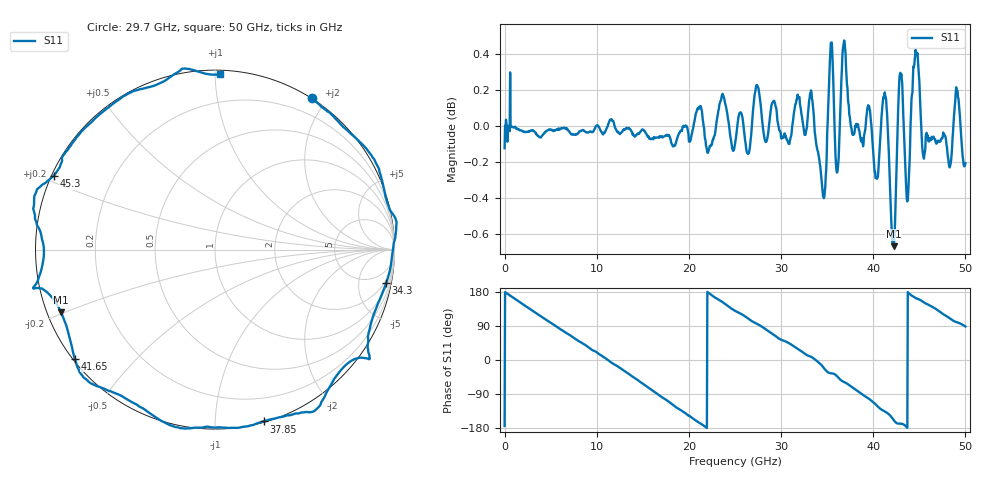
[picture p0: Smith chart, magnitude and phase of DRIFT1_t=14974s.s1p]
!Created with skrf (http://scikit-rf.org).
# Hz S RI R 50.0
!freq ReS11 ImS11
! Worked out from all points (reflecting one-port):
!   1001 points, 300 kHz to 50 GHz, reference 50 ohm
!   lowest |S11| = -0.7 dB at 42.2 GHz (marker M1), VSWR 26.12, Z = 1.99 - j9.77 ohm
!   phase of S11 starts at -174 deg and turns -817 deg over the sweep
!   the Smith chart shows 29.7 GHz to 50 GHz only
!   S11 on the Smith chart (normalised r, x): 29.7 GHz: -0.00, +1.82; 34.3 GHz: 2, -10; 37.85 GHz: 0.01, -1.32; 41.65 GHz: 0.01, -0.34; 45.3 GHz: 0.01, +0.22; 50 GHz: 0.02, +1.03
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300000  -0.9808 -0.1006
1.500291e9  -0.9058 0.4187
3.30028e9  -0.5806 0.8094
6.250262e9  0.2025 0.9778
9.500243e9  0.8925 0.4423
1.250022e10  0.9313 -0.3498
1.580021e10  0.2367 -0.9631
1.74002e10  -0.2241 -0.9681
1.875019e10  -0.5987 -0.7919
2.150017e10  -0.9928 -0.1508
2.345016e10  -0.9276 0.4154
2.500015e10  -0.6327 0.7593
2.740014e10  -0.0943 1.022
2.970012e10  0.5378 0.844
3.125011e10  0.7864 0.6198
3.31001e10  1.002 0.1781
3.430009e10  0.954 -0.1853
3.520009e10  0.8542 -0.571
3.750008e10  0.3715 -0.9324
3.785007e10  0.2703 -0.9574
3.960006e10  -0.2369 -0.9825
4.165005e10  -0.7818 -0.6068
4.220005e10  -0.8579 -0.3491
4.290004e10  -1.011 -0.2175
4.375004e10  -0.954 0.0145
4.530003e10  -0.8986 0.4114
4.770001e10  -0.4888 0.8663
5e10  0.0251 0.9762
